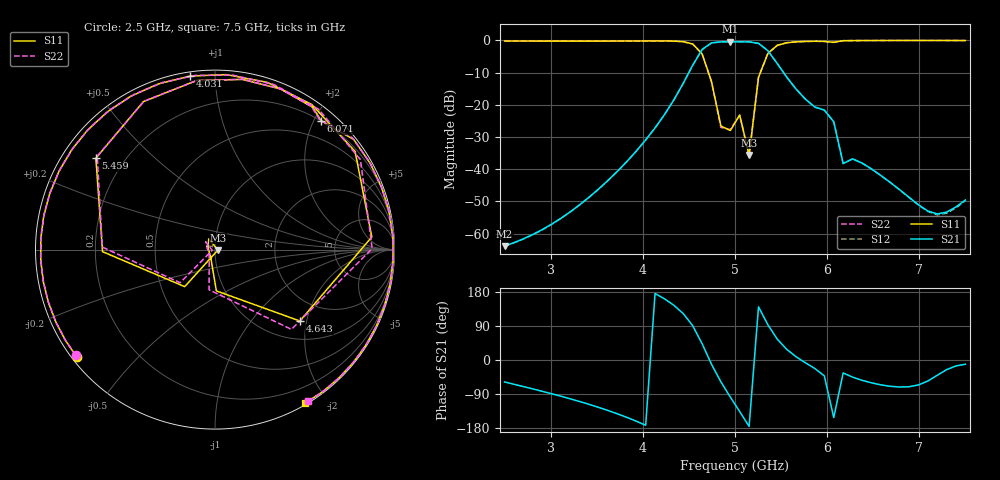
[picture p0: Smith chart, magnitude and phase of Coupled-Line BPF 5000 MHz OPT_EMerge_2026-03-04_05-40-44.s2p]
! Generated by EMerge - 2-port S-parameters
! File generated: 2026-03-04 05:40
! --- Coupled-Line BPF 5000 MHz OPT ---
! Substrate: RO4003C
! h = 0.508 mm
! W50 = 1.1 mm, Lfeed = 5 mm
! L1 = 8.93 mm, S1 = 0.10515040859283277 mm, W1 = 0.7398958524349439 mm
! L2 = 8.93 mm, S2 = 0.10515040859283277 mm, W2 = 1.079359083396226 mm
! Run time = 0.88 min
# GHZ S RI R 50
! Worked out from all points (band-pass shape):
!   50 points, 2.5 GHz to 7.5 GHz, reference 50 ohm
!   highest |S21| = -0.46 dB at 4.949 GHz (marker M1); lowest = -63.9 dB at 2.5 GHz (marker M2)
!   |S21| within 3 dB of the highest: 4.63 GHz to 5.363 GHz (732.8 MHz wide, 14.7 % of centre)
!   lowest |S11| = -35.6 dB at 5.153 GHz (marker M3), VSWR 1.03, Z = 51.7 - j0.23 ohm
!   |S11| at or under -10 dB: 4.712 GHz to 5.275 GHz (563.4 MHz wide, 11.3 % of centre)
!   |S22| runs from -35.9 to 0.0 dB; largest |S21 - S12| = 0.0014
!   S11 on the Smith chart (normalised r, x): 2.5 GHz: 0.01, -0.34; 4.031 GHz: 0.02, +0.87; 4.643 GHz: 1.42, -1.82; 5.459 GHz: 0.10, +0.34; 6.071 GHz: 0.20, +2.11; 7.5 GHz: 0.02, -1.74
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2.5  -0.7693 -0.5998  0.000339 -0.000543  0.000338 -0.000539  -0.7766 -0.59
3.418367  -0.8704 0.434  -0.00168 -0.00328  -0.00167 -0.00326  -0.8609 0.4526
4.030612  -0.1397 0.9665  -0.0281 -0.0038  -0.028 -0.0038  -0.1087 0.9707
4.234694  0.2907 0.9322  -0.0666 0.0223  -0.0665 0.0223  0.3279 0.9199
4.438776  0.7806 0.5465  -0.1152 0.182  -0.115 0.1816  0.8104 0.501
4.540816  0.8738 0.0702  -0.00352 0.4101  -0.00354 0.4094  0.8757 0.00511
4.642857  0.4728 -0.3978  0.5252 0.4913  0.5243 0.4905  0.426 -0.4445
4.744898  0.00768 -0.23  0.8952 -0.1789  0.8938 -0.1786  -0.0329 -0.224
4.846939  -0.0244 -0.0399  0.5079 -0.7978  0.5071 -0.7966  -0.0319 -0.031
4.94898  -0.0388 0.0087  -0.129 -0.9394  -0.1288 -0.9381  -0.0412 -0.000585
5.05102  -0.0351 0.0596  -0.682 -0.6561  -0.6812 -0.6553  -0.0525 0.0439
5.153061  0.0164 -0.00223  -0.9425 -0.0769  -0.9414 -0.0768  -0.0154 -0.00439
5.255102  -0.1689 -0.2064  -0.6896 0.5744  -0.6888 0.5737  -0.1949 -0.1846
5.357143  -0.6266 -0.0114  -0.0341 0.689  -0.0341 0.6883  -0.6279 0.0141
5.459184  -0.6638 0.509  0.2506 0.3552  0.2503 0.3549  -0.6562 0.5202
5.663265  -0.1041 0.9411  0.1727 0.0257  0.1726 0.0257  -0.1046 0.9413
5.867347  0.3677 0.894  0.0849 -0.0353  0.0849 -0.0353  0.3617 0.8965
6.071429  0.5922 0.717  -0.048 -0.0255  -0.0479 -0.0256  0.5847 0.7231
6.173469  0.7733 0.6131  0.0101 -0.00686  0.0101 -0.00688  0.766 0.6221
6.683673  0.9921 -0.0639  0.00219 -0.00583  0.00216 -0.00583  0.993 -0.0466
7.193878  0.7676 -0.6325  0.00153 -0.00131  0.00148 -0.00127  0.7808 -0.6162
7.5  0.5008 -0.8565  0.00326 -0.000646  0.00318 -0.000536  0.5196 -0.8452
